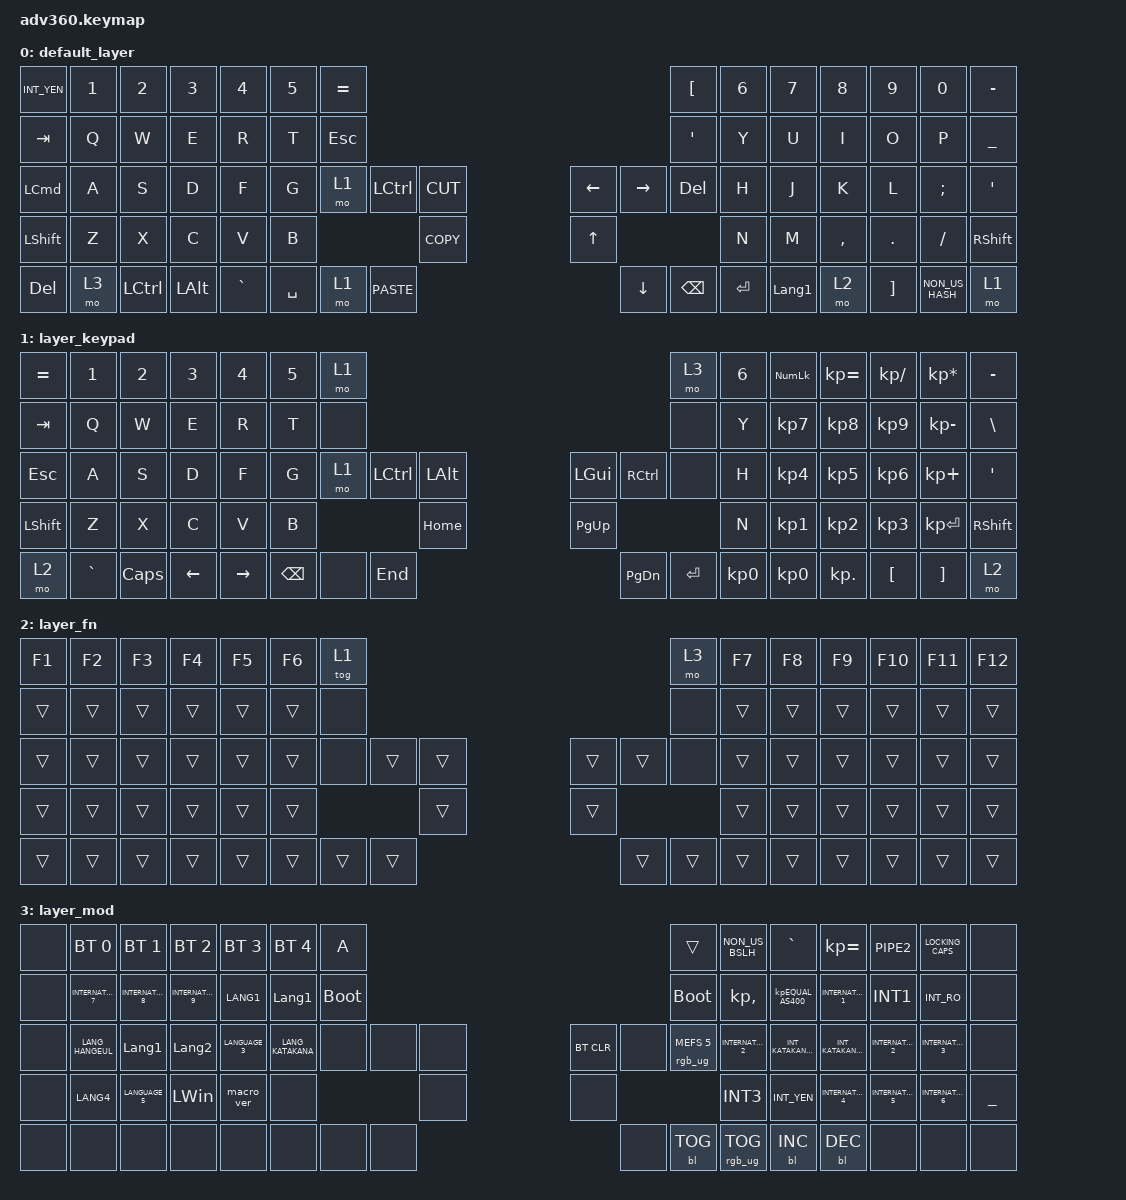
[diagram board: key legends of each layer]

/*
 * Copyright (c) 2020 The ZMK Contributors
 *
 * SPDX-License-Identifier: MIT
 */


/* THIS FILE WAS GENERATED!
 *
 * This file was generated automatically. You may or may not want to
 * edit it directly.
 */

#include <behaviors.dtsi>
#include <dt-bindings/zmk/keys.h>
#include <dt-bindings/zmk/bt.h>
#include <dt-bindings/zmk/rgb.h>
#include <dt-bindings/zmk/backlight.h>

/ {
  behaviors {
    #include "macros.dtsi"
    #include "version.dtsi"

    hm: homerow_mods {
        compatible = "zmk,behavior-hold-tap";
        label = "HOMEROW_MODS";
        #binding-cells = <2>;
        tapping-term-ms = <200>;
        quick_tap_ms = <175>;
        flavor = "tap-preferred";
        bindings = <&kp>, <&kp>;
    };
  };

    keymap {
        compatible = "zmk,keymap";


        default_layer {
            bindings = <
      &kp INT_YEN  &kp N1     &kp N2    &kp N3     &kp N4  &kp N5             &kp EQUAL                                                                           &kp LEFT_BRACKET  &kp N6          &kp N7     &kp N8             &kp N9           &kp N0         &kp MINUS
          &kp TAB   &kp Q      &kp W     &kp E      &kp R   &kp T            &kp ESCAPE                                                                                    &kp SQT   &kp Y           &kp U      &kp I              &kp O            &kp P    &kp UNDERSCORE
 &kp LEFT_COMMAND   &kp A      &kp S     &kp D      &kp F   &kp G                 &mo 1  &kp LCTRL    &kp K_CUT                  &kp LEFT_ARROW  &kp RIGHT_ARROW        &kp DELETE   &kp H           &kp J      &kp K              &kp L         &kp SEMI  &kp SINGLE_QUOTE
        &kp LSHFT   &kp Z      &kp X     &kp C      &kp V   &kp B                                    &kp K_COPY                    &kp UP_ARROW                                      &kp N           &kp M  &kp COMMA            &kp DOT         &kp FSLH         &kp RSHFT
       &kp DELETE   &mo 3  &kp LCTRL  &kp LALT  &kp GRAVE                     &kp SPACE      &mo 1  &kp K_PASTE                  &kp DOWN_ARROW    &kp BACKSPACE         &kp ENTER          &kp LANGUAGE_1      &mo 2  &kp RIGHT_BRACKET  &kp NON_US_HASH             &mo 1
            >;
        };

        layer_keypad {
            bindings = <
 &kp EQUAL     &kp N1    &kp N2    &kp N3     &kp N4  &kp N5               &mo 1                                                                 &mo 3  &kp N6       &kp KP_NUM  &kp KP_EQUAL  &kp KP_DIVIDE  &kp KP_MULTIPLY  &kp MINUS
   &kp TAB      &kp Q     &kp W     &kp E      &kp R   &kp T               &none                                                                 &none   &kp Y        &kp KP_N7     &kp KP_N8      &kp KP_N9     &kp KP_MINUS   &kp BSLH
   &kp ESC      &kp A     &kp S     &kp D      &kp F   &kp G               &mo 1  &kp LCTRL  &kp LALT                   &kp LGUI  &kp RCTRL      &none   &kp H        &kp KP_N4     &kp KP_N5      &kp KP_N6      &kp KP_PLUS    &kp SQT
 &kp LSHFT      &kp Z     &kp X     &kp C      &kp V   &kp B                                 &kp HOME                  &kp PG_UP                         &kp N        &kp KP_N1     &kp KP_N2      &kp KP_N3     &kp KP_ENTER  &kp RSHFT
     &mo 2  &kp GRAVE  &kp CAPS  &kp LEFT  &kp RIGHT                    &kp BSPC      &none   &kp END                  &kp PG_DN  &kp ENTER  &kp KP_N0          &kp KP_NUMBER_0    &kp KP_DOT       &kp LBKT         &kp RBKT      &mo 2
            >;
        };

        layer_fn {
            bindings = <
 &kp F1  &kp F2  &kp F3  &kp F4  &kp F5  &kp F6            &tog 1                                                   &mo 3  &kp F7  &kp F8  &kp F9  &kp F10  &kp F11  &kp F12
 &trans  &trans  &trans  &trans  &trans  &trans             &none                                                   &none  &trans  &trans  &trans   &trans   &trans   &trans
 &trans  &trans  &trans  &trans  &trans  &trans             &none  &trans  &trans                  &trans  &trans   &none  &trans  &trans  &trans   &trans   &trans   &trans
 &trans  &trans  &trans  &trans  &trans  &trans                            &trans                  &trans                  &trans  &trans  &trans   &trans   &trans   &trans
 &trans  &trans  &trans  &trans  &trans                    &trans  &trans  &trans                  &trans  &trans  &trans          &trans  &trans   &trans   &trans   &trans
            >;
        };

        layer_mod {
            bindings = <
  &none         &bt BT_SEL 0         &bt BT_SEL 1         &bt BT_SEL 2    &bt BT_SEL 3       &bt BT_SEL 4                  &kp A                                                                          &trans      &kp NON_US_BSLH                 &kp GRAVE              &kp KP_EQUAL            &kp PIPE2     &kp LOCKING_CAPS      &none
  &none  &kp INTERNATIONAL_7  &kp INTERNATIONAL_8  &kp INTERNATIONAL_9       &kp LANG1     &kp LANGUAGE_1            &bootloader                                                                     &bootloader         &kp KP_COMMA        &kp KP_EQUAL_AS400       &kp INTERNATIONAL_1             &kp INT1           &kp INT_RO      &none
  &none     &kp LANG_HANGEUL       &kp LANGUAGE_1       &kp LANGUAGE_2  &kp LANGUAGE_3  &kp LANG_KATAKANA                  &none   &none   &none                  &bt BT_CLR       &none  &rgb_ug RGB_MEFS_CMD 5  &kp INTERNATIONAL_2  &kp INT_KATAKANAHIRAGANA  &kp INT_KATAKANAHIRAGANA  &kp INTERNATIONAL_2  &kp INTERNATIONAL_3      &none
  &none            &kp LANG4       &kp LANGUAGE_5         &kp LEFT_WIN      &macro_ver              &none                                  &none                       &none                                                 &kp INT3               &kp INT_YEN       &kp INTERNATIONAL_4  &kp INTERNATIONAL_5  &kp INTERNATIONAL_6  &kp UNDER
  &none                &none                &none                &none           &none                                     &none   &none   &none                       &none  &bl BL_TOG         &rgb_ug RGB_TOG                                     &bl BL_INC                &bl BL_DEC                &none                &none      &none
            >;
        };

    };
};
